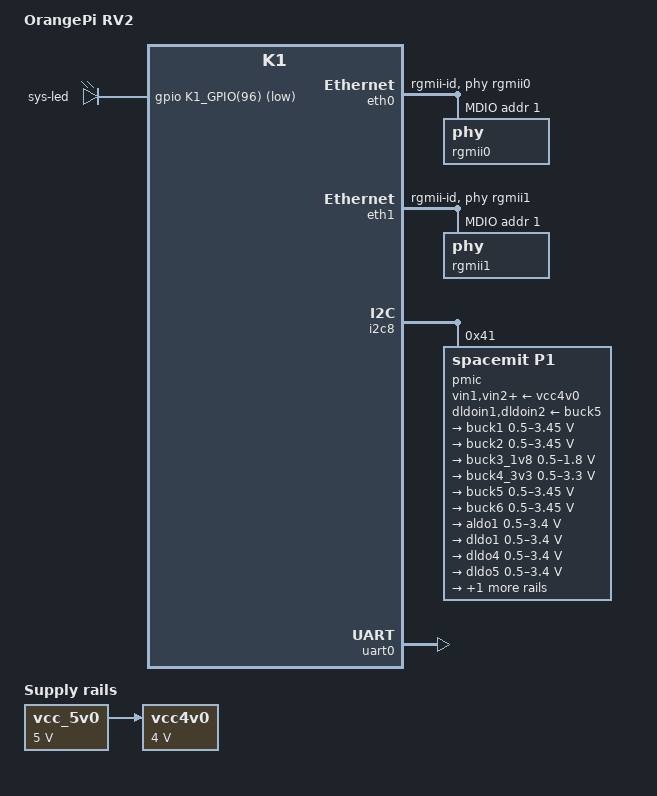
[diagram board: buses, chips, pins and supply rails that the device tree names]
// SPDX-License-Identifier: (GPL-2.0 OR MIT)
/*
 * Copyright (C) 2024 Yangyu Chen <cyy@cyyself.name>
 * Copyright (C) 2025 Hendrik Hamerlinck <hendrik.hamerlinck@hammernet.be>
 */

/dts-v1/;

#include "k1.dtsi"
#include "k1-pinctrl.dtsi"

/ {
	model = "OrangePi RV2";
	compatible = "xunlong,orangepi-rv2", "spacemit,k1";

	aliases {
		serial0 = &uart0;
		ethernet0 = &eth0;
		ethernet1 = &eth1;
	};

	chosen {
		stdout-path = "serial0";
	};

	vcc_5v0: regulator-vcc-5v0 {
		compatible = "regulator-fixed";
		regulator-name = "vcc_5v0";
		regulator-always-on;
		regulator-boot-on;
		regulator-min-microvolt = <5000000>;
		regulator-max-microvolt = <5000000>;
	};

	vcc4v0: regulator-vcc4v0 {
		compatible = "regulator-fixed";
		regulator-name = "vcc4v0";
		regulator-always-on;
		regulator-boot-on;
		regulator-min-microvolt = <4000000>;
		regulator-max-microvolt = <4000000>;
		vin-supply = <&vcc_5v0>;
	};

	leds {
		compatible = "gpio-leds";

		led1 {
			label = "sys-led";
			gpios = <&gpio K1_GPIO(96) GPIO_ACTIVE_LOW>;
			linux,default-trigger = "heartbeat";
			default-state = "on";
		};
	};
};

&eth0 {
	phy-handle = <&rgmii0>;
	phy-mode = "rgmii-id";
	pinctrl-names = "default";
	pinctrl-0 = <&gmac0_cfg>;
	rx-internal-delay-ps = <0>;
	tx-internal-delay-ps = <0>;
	status = "okay";

	mdio-bus {
		#address-cells = <0x1>;
		#size-cells = <0x0>;

		reset-gpios = <&gpio K1_GPIO(110) GPIO_ACTIVE_LOW>;
		reset-delay-us = <10000>;
		reset-post-delay-us = <100000>;

		rgmii0: phy@1 {
			reg = <0x1>;
			motorcomm,auto-sleep-disabled;
		};
	};
};

&eth1 {
	phy-handle = <&rgmii1>;
	phy-mode = "rgmii-id";
	pinctrl-names = "default";
	pinctrl-0 = <&gmac1_cfg>;
	rx-internal-delay-ps = <0>;
	tx-internal-delay-ps = <250>;
	status = "okay";

	mdio-bus {
		#address-cells = <0x1>;
		#size-cells = <0x0>;

		reset-gpios = <&gpio K1_GPIO(115) GPIO_ACTIVE_LOW>;
		reset-delay-us = <10000>;
		reset-post-delay-us = <100000>;

		rgmii1: phy@1 {
			reg = <0x1>;
			motorcomm,auto-sleep-disabled;
		};
	};
};

&pdma {
	status = "okay";
};

&i2c8 {
	pinctrl-names = "default";
	pinctrl-0 = <&i2c8_cfg>;
	status = "okay";

	pmic@41 {
		compatible = "spacemit,p1";
		reg = <0x41>;
		interrupts = <64>;
		vin1-supply = <&vcc4v0>;
		vin2-supply = <&vcc4v0>;
		vin3-supply = <&vcc4v0>;
		vin4-supply = <&vcc4v0>;
		vin5-supply = <&vcc4v0>;
		vin6-supply = <&vcc4v0>;
		aldoin-supply = <&vcc4v0>;
		dldoin1-supply = <&buck5>;
		dldoin2-supply = <&buck5>;

		regulators {
			buck1 {
				regulator-min-microvolt = <500000>;
				regulator-max-microvolt = <3450000>;
				regulator-ramp-delay = <5000>;
				regulator-always-on;
			};

			buck2 {
				regulator-min-microvolt = <500000>;
				regulator-max-microvolt = <3450000>;
				regulator-ramp-delay = <5000>;
				regulator-always-on;
			};

			buck3_1v8: buck3 {
				regulator-min-microvolt = <500000>;
				regulator-max-microvolt = <1800000>;
				regulator-ramp-delay = <5000>;
				regulator-always-on;
			};

			buck4_3v3: buck4 {
				regulator-min-microvolt = <500000>;
				regulator-max-microvolt = <3300000>;
				regulator-ramp-delay = <5000>;
				regulator-always-on;
			};

			buck5: buck5 {
				regulator-min-microvolt = <500000>;
				regulator-max-microvolt = <3450000>;
				regulator-ramp-delay = <5000>;
				regulator-always-on;
			};

			buck6 {
				regulator-min-microvolt = <500000>;
				regulator-max-microvolt = <3450000>;
				regulator-ramp-delay = <5000>;
				regulator-always-on;
			};

			aldo1 {
				regulator-min-microvolt = <500000>;
				regulator-max-microvolt = <3400000>;
				regulator-boot-on;
			};

			aldo2 {
				/* not connected */
			};

			aldo3 {
				/* not connected */
			};

			aldo4 {
				/* not connected */
			};

			dldo1 {
				regulator-min-microvolt = <500000>;
				regulator-max-microvolt = <3400000>;
				regulator-boot-on;
			};

			dldo2 {
				/* not connected */
			};

			dldo3 {
				/* not connected */
			};

			dldo4 {
				regulator-min-microvolt = <500000>;
				regulator-max-microvolt = <3400000>;
				regulator-always-on;
			};

			dldo5 {
				regulator-min-microvolt = <500000>;
				regulator-max-microvolt = <3400000>;
			};

			dldo6 {
				regulator-min-microvolt = <500000>;
				regulator-max-microvolt = <3400000>;
				regulator-always-on;
			};

			dldo7 {
				/* not connected */
			};
		};
	};
};

&uart0 {
	pinctrl-names = "default";
	pinctrl-0 = <&uart0_2_cfg>;
	status = "okay";
};
